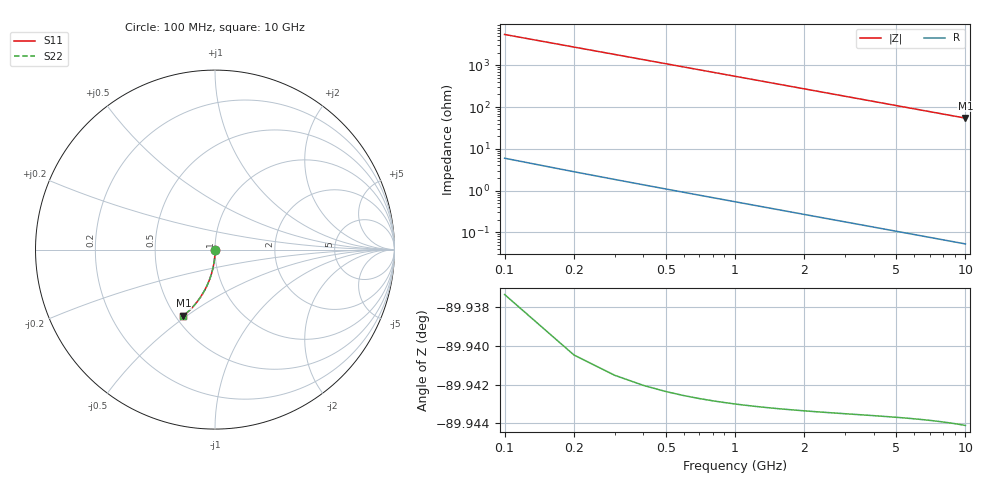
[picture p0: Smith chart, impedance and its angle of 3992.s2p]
# Hz S RI R 50.00
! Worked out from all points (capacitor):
!   100 points, 100 MHz to 10 GHz, reference 50 ohm
!   read as one part in shunt: C = 292 fF near 100 MHz
!   lowest |Z| = 54.4 ohm at 10 GHz (marker M1)
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1e8  2.49e-06 -0.00447  0.9999 -0.0047  0.9999 -0.0047  2.49e-06 -0.00447
2e8  -6.47e-05 -0.00893  0.9999 -0.00939  0.9999 -0.00939  -6.47e-05 -0.00893
3e8  -0.000174 -0.0134  0.9998 -0.0141  0.9998 -0.0141  -0.000174 -0.0134
4e8  -0.000325 -0.0179  0.9996 -0.0188  0.9996 -0.0188  -0.000325 -0.0179
5e8  -0.000518 -0.0223  0.9994 -0.0235  0.9994 -0.0235  -0.000518 -0.0223
6e8  -0.000753 -0.0268  0.9992 -0.0282  0.9992 -0.0282  -0.000753 -0.0268
7e8  -0.00103 -0.0312  0.9989 -0.0328  0.9989 -0.0328  -0.00103 -0.0312
8e8  -0.00135 -0.0357  0.9986 -0.0375  0.9986 -0.0375  -0.00135 -0.0357
9e8  -0.00171 -0.0401  0.9982 -0.0422  0.9982 -0.0422  -0.00171 -0.0401
1.1e9  -0.00255 -0.049  0.9974 -0.0515  0.9974 -0.0515  -0.00255 -0.049
1.4e9  -0.00413 -0.0623  0.9958 -0.0655  0.9958 -0.0655  -0.00413 -0.0623
1.8e9  -0.00681 -0.0799  0.9931 -0.084  0.9931 -0.084  -0.00681 -0.0799
2.1e9  -0.00925 -0.093  0.9907 -0.0978  0.9907 -0.0978  -0.00925 -0.093
2.5e9  -0.0131 -0.1103  0.9869 -0.1161  0.9869 -0.1161  -0.0131 -0.1103
2.9e9  -0.0175 -0.1274  0.9824 -0.1341  0.9824 -0.1341  -0.0175 -0.1274
3.4e9  -0.0239 -0.1484  0.976 -0.1563  0.976 -0.1563  -0.0239 -0.1484
4.2e9  -0.036 -0.1811  0.9639 -0.1908  0.9639 -0.1908  -0.036 -0.1811
5.1e9  -0.0522 -0.2162  0.9476 -0.2281  0.9476 -0.2281  -0.0522 -0.2162
5.9e9  -0.0688 -0.2458  0.9311 -0.2596  0.9311 -0.2596  -0.0688 -0.2458
6.7e9  -0.087 -0.2737  0.9128 -0.2894  0.9128 -0.2894  -0.087 -0.2737
8.4e9  -0.1306 -0.3267  0.8692 -0.3465  0.8692 -0.3465  -0.1306 -0.3267
1e10  -0.1758 -0.3685  0.8239 -0.3921  0.8239 -0.3921  -0.1758 -0.3685
